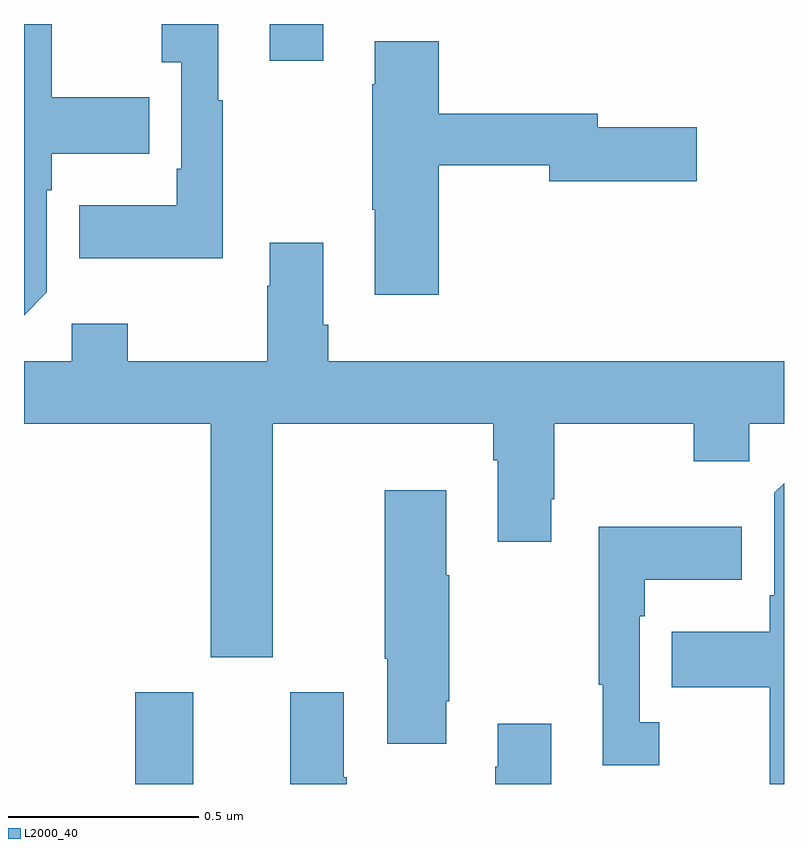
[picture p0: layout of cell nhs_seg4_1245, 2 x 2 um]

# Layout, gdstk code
import gdstk
lib = gdstk.Library(unit=1e-6, precision=1e-09)
def R(c, l, rs):  # rectangles x0, y0, x1, y1
    for r in rs: c.add(gdstk.rectangle(r[:2], r[2:], *l))
def P(c, l, *ps):  # polygons
    for p in ps: c.add(gdstk.Polygon(p, *l))
L2000_40 = (2000, 40)

nhs_seg4_1245 = lib.new_cell('nhs_seg4_1245')
R(nhs_seg4_1245, L2000_40, [(126.293,767.9,126.445,768.142), (126.647,769.803,126.787,769.9)])
P(nhs_seg4_1245, L2000_40, [(126.523,769.699),(126.511,769.699),(126.511,769.9),(126.363,769.9),(126.363,769.799),(126.414,769.799),(126.414,769.519),(126.402,769.519),(126.402,769.423),(126.145,769.423),(126.145,769.283),(126.523,769.283)],
  [(126.06,769.194),(126.06,769.463),(126.073,769.463),(126.073,769.559),(126.329,769.559),(126.329,769.707),(126.073,769.707),(126.073,769.9),(126,769.9),(126,769.134)],
  [(127.091,769.528),(127.382,769.528),(127.382,769.486),(127.771,769.486),(127.771,769.628),(127.51,769.628),(127.51,769.664),(127.091,769.664),(127.091,769.855),(126.923,769.855),(126.923,769.742),(126.916,769.742),(126.916,769.411),(126.923,769.411),(126.923,769.188),(127.091,769.188)],
  [(126.655,768.848),(127.235,768.848),(127.235,768.752),(127.247,768.752),(127.247,768.537),(127.387,768.537),(127.387,768.649),(127.395,768.649),(127.395,768.848),(127.762,768.848),(127.762,768.749),(127.908,768.749),(127.908,768.848),(128,768.848),(128,769.012),(126.8,769.012),(126.8,769.108),(126.787,769.108),(126.787,769.324),(126.647,769.324),(126.647,769.211),(126.64,769.211),(126.64,769.012),(126.273,769.012),(126.273,769.111),(126.126,769.111),(126.126,769.012),(126,769.012),(126,768.848),(126.491,768.848),(126.491,768.234),(126.655,768.234)],
  [(128,768.692),(127.974,768.666),(127.974,768.397),(127.962,768.397),(127.962,768.301),(127.705,768.301),(127.705,768.154),(127.962,768.154),(127.962,767.9),(128,767.9)],
  [(127.111,768.118),(127.119,768.118),(127.119,768.449),(127.111,768.449),(127.111,768.673),(126.949,768.673),(126.949,768.229),(126.956,768.229),(126.956,768.006),(127.111,768.006)],
  [(127.672,768.062),(127.62,768.062),(127.62,768.341),(127.633,768.341),(127.633,768.437),(127.889,768.437),(127.889,768.577),(127.512,768.577),(127.512,768.161),(127.523,768.161),(127.523,767.949),(127.672,767.949)],
  [(126.849,767.918),(126.841,767.918),(126.841,768.142),(126.701,768.142),(126.701,767.9),(126.849,767.9)],
  [(127.387,768.058),(127.247,768.058),(127.247,767.945),(127.24,767.945),(127.24,767.9),(127.387,767.9)])

lib.write_gds('nhs_seg4_1245.gds')
